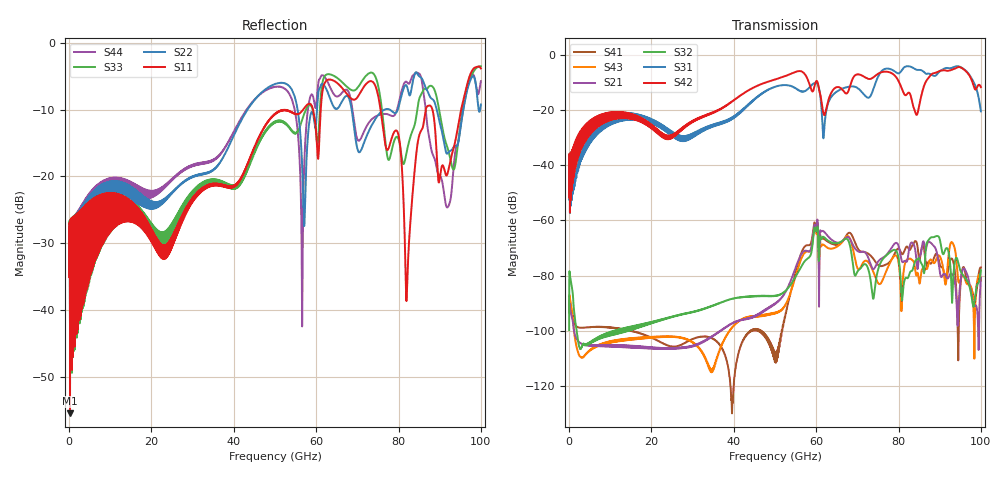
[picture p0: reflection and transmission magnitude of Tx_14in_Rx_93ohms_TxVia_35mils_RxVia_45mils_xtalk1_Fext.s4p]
! Info: Touchstone file created by Circ.  Input file=Tx_14in_Rx_93ohms_TxVia_35mils_RxVia_45mils.circ
# Hz S RI R 50
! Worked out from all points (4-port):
!   10000 points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, 10 MHz to 100 GHz, reference 50 ohm
!   strongest paths, dB at 10 MHz, 25.01 GHz, 50.01 GHz, 75.01 GHz, 100 GHz:
!     S42: -51.7, -28.9, -8.9, -6.9, -11.7
!     S31: -52.4, -27.9, -11.5, -8.0, -20.5
!     S32: -99.8, -95.1, -87.4, -78.0, -78.1
!     S21: -91.1, -106.6, -90.3, -75.0, -80.7
!     S43: -90.3, -102.3, -93.6, -82.6, -81.7
!     S41: -90.9, -105.7, -110.1, -76.1, -77.1
!   lowest |S11| = -55.5 dB at 230 MHz (marker M1), VSWR 1.00, Z = 49.8 + j0.0103 ohm
!   |S11| at or under -10 dB: start of sweep to 56.85 GHz; 75.63 GHz to 86.62 GHz (10.98 GHz wide, 13.5 % of centre); 88.23 GHz to 95.21 GHz (6.98 GHz wide, 7.61 % of centre) (the widest 3 of 4)
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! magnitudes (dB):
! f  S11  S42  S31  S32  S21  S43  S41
! 10 MHz  -35.1  -51.7  -52.4  -99.8  -91.1  -90.3  -90.9
! 230 MHz  -55.5  -45.7  -45.7  -80.1  -91.9  -88.4  -90.7
! 63.33 GHz  -5.5  -14.8  -16.1  -67.8  -66.5  -70.3  -68.1
! 79.75 GHz  -13.3  -8.8  -6.6  -72.1  -68.5  -73.5  -70.3
! 82.05 GHz  -37.2  -14.3  -4.1  -81.0  -74.9  -74.2  -69.5
! 91.91 GHz  -19.6  -5.8  -4.7  -70.3  -81.1  -76.4  -79.2
! 100 GHz  -3.8  -11.7  -20.5  -78.1  -80.7  -81.7  -77.1
